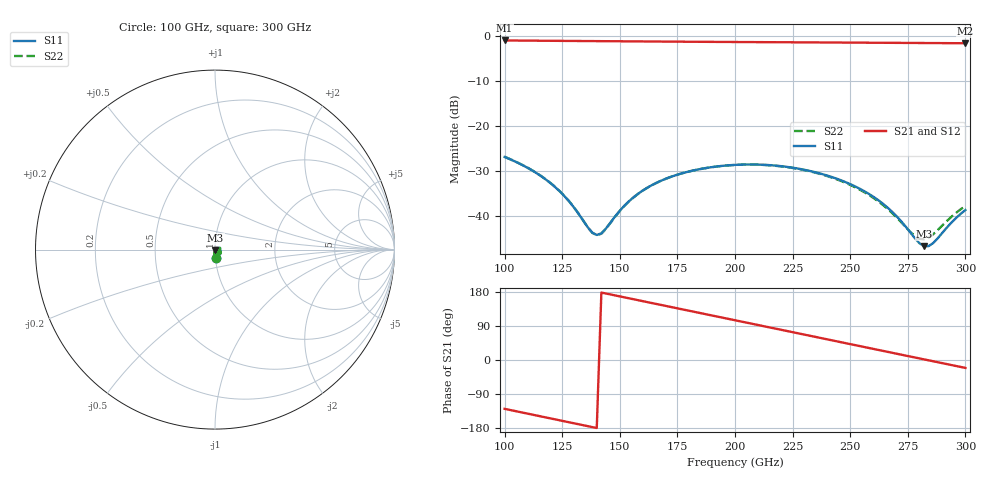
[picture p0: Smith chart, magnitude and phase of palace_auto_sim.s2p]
#  GHZ S DB R 50
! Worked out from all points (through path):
!   101 points, 100 GHz to 300 GHz, reference 50 ohm
!   highest |S21| = -0.97 dB at 100 GHz (marker M1); lowest = -1.6 dB at 300 GHz (marker M2)
!   group delay of S21, straight-line fit = 3.5 ps
!   lowest |S11| = -46.7 dB at 282 GHz (marker M3), VSWR 1.01, Z = 50.3 - j0.381 ohm
!   |S11| at or under -10 dB: start of sweep to end of sweep
!   |S22| runs from -45.2 to -26.8 dB; largest |S21 - S12| = 1.5e-13
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100  -26.87 -83.8  -0.97 -128.9  -0.97 -128.9  -26.84 -84.0
110  -29.29 -92.9  -1.01 -141.6  -1.01 -141.6  -29.26 -93.2
120  -32.72 -99.5  -1.05 -154.2  -1.05 -154.2  -32.68 -99.9
128  -36.74 -99.2  -1.08 -164.4  -1.08 -164.4  -36.70 -99.8
134  -40.93 -88.0  -1.10 -171.9  -1.10 -171.9  -40.90 -88.9
138  -43.66 -66.1  -1.12 -177.0  -1.12 -177.0  -43.70 -67.1
140  -44.21 -49.8  -1.12 -179.5  -1.12 -179.5  -44.29 -50.7
142  -43.82 -33.5  -1.13 177.9  -1.13 177.9  -43.92 -34.1
154  -36.70 0.7  -1.17 162.8  -1.17 162.8  -36.73 0.7
160  -34.32 0.1  -1.19 155.2  -1.19 155.2  -34.33 0.1
168  -32.12 -4.6  -1.22 145.2  -1.22 145.2  -32.13 -4.7
184  -29.64 -18.6  -1.27 125.0  -1.27 125.0  -29.65 -18.6
200  -28.62 -34.8  -1.32 104.9  -1.32 104.9  -28.64 -34.7
216  -28.72 -52.2  -1.36 84.8  -1.36 84.8  -28.76 -51.8
234  -30.16 -71.5  -1.41 62.1  -1.41 62.1  -30.25 -70.7
254  -33.89 -90.4  -1.46 36.9  -1.46 36.9  -34.09 -88.1
268  -38.95 -96.1  -1.50 19.3  -1.50 19.3  -39.23 -90.4
278  -44.88 -78.5  -1.53 6.7  -1.53 6.7  -44.41 -66.3
282  -46.69 -54.9  -1.54 1.7  -1.54 1.7  -45.18 -43.7
286  -46.01 -27.6  -1.55 -3.3  -1.55 -3.3  -44.05 -22.9
294  -41.42 -3.5  -1.58 -13.4  -1.58 -13.4  -40.14 -4.9
300  -38.66 -1.1  -1.59 -20.9  -1.59 -20.9  -37.76 -3.0
